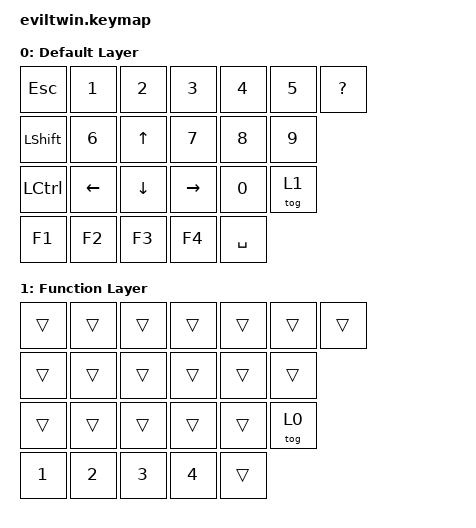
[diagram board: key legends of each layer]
/*
 * Copyright (c) 2022 The ZMK Contributors
 *
 * SPDX-License-Identifier: MIT
 */

#include <behaviors.dtsi>
#include <dt-bindings/zmk/keys.h>

#define BASE        0
#define ARROW       1
#define FUNC        2

/ {
    chosen {
        zmk,kscan = &kscan0;
        zmk,matrix-transform = &default_transform;
    };

    keymap {
        compatible = "zmk,keymap";

        default_layer {
            display-name = "Default Layer";
            bindings = <
&kp ESC         &kp N1        &kp N2          &kp N3     &kp N4     &kp N5  &kp QUESTION
&kp LEFT_SHIFT  &kp NUMBER_6  &kp UP_ARROW    &kp N7     &kp N8     &kp N9
&kp LCTRL       &kp LEFT      &kp DOWN_ARROW  &kp RIGHT  &kp N0     &tog 1
&kp F1          &kp F2        &kp F3          &kp F4     &kp SPACE
            >;
        };

        function_layer {
            display-name = "Function Layer";
            bindings = <
&trans        &trans        &trans        &trans        &trans  &trans  &trans
&trans        &trans        &trans        &trans        &trans  &trans
&trans        &trans        &trans        &trans        &trans  &tog 0
&kp NUMBER_1  &kp NUMBER_2  &kp NUMBER_3  &kp NUMBER_4  &trans
            >;
        };
    };
};
